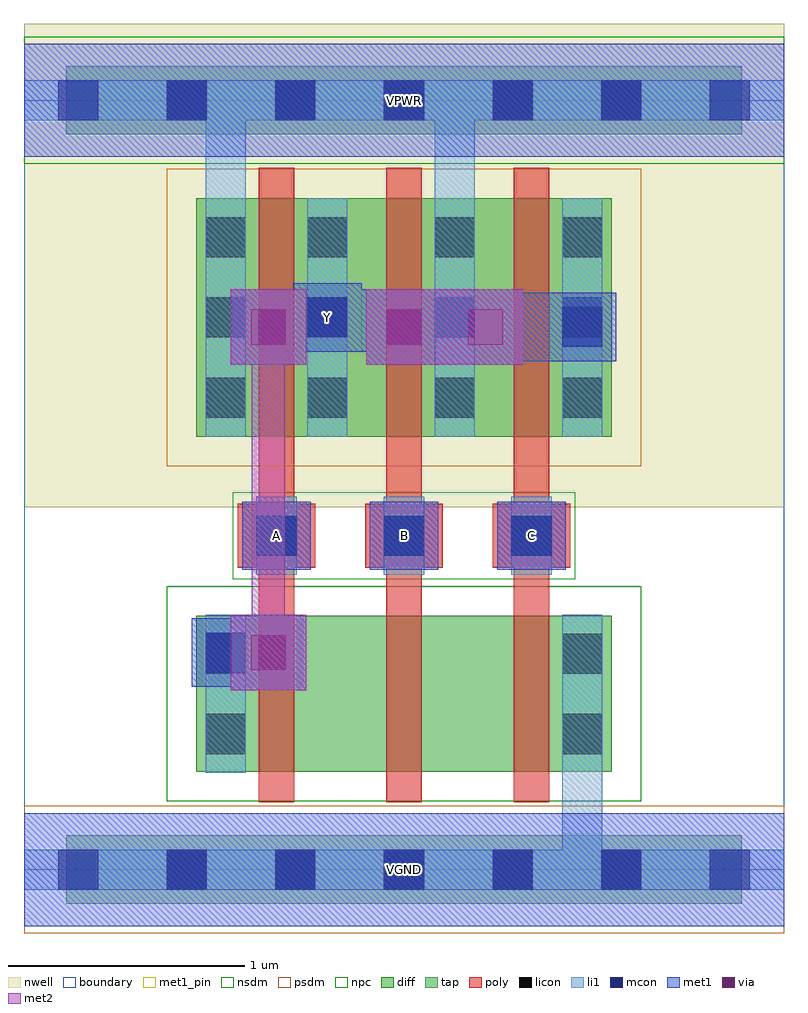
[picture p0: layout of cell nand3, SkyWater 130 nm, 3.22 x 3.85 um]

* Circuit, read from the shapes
.subckt nand3 A B C VGND VPWR Y
XM1 n1 A Y VGND sky130_fd_pr__nfet_01v8 w=0.66 l=0.15
XM2 n2 B n1 VGND sky130_fd_pr__nfet_01v8 w=0.66 l=0.15
XM3 VGND C n2 VGND sky130_fd_pr__nfet_01v8 w=0.66 l=0.15
XM4 Y A VPWR VPWR sky130_fd_pr__pfet_01v8 w=1.01 l=0.15
XM5 VPWR B Y VPWR sky130_fd_pr__pfet_01v8 w=1.01 l=0.15
XM6 Y C VPWR VPWR sky130_fd_pr__pfet_01v8 w=1.01 l=0.15
.ends

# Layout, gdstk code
import gdstk
lib = gdstk.Library(unit=1e-6, precision=1e-09)
def R(c, l, rs):  # rectangles x0, y0, x1, y1
    for r in rs: c.add(gdstk.rectangle(r[:2], r[2:], *l))
def A(c, l, x, y, w, h, nx, ny, dx, dy):  # array of equal rectangles
    R(c, l, [(x+i*dx, y+j*dy, x+i*dx+w, y+j*dy+h) for i in range(nx) for j in range(ny)])
nwell = (64, 20)
diff = (65, 20)
tap = (65, 44)
poly = (66, 20)
licon = (66, 44)
li1 = (67, 20)
mcon = (67, 44)
met1_pin = (68, 16)
met1 = (68, 20)
via = (68, 44)
met2 = (69, 20)
nsdm = (93, 44)
psdm = (94, 20)
npc = (95, 20)
boundary = (235, 4)

nand3 = lib.new_cell('nand3')
R(nand3, nwell, [(0,1.535,3.22,3.585)])
R(nand3, diff, [(0.73,0.415,2.49,1.075), (0.73,1.835,2.49,2.845)])
R(nand3, tap, [(0.18,-0.145,3.04,0.145), (0.18,3.115,3.04,3.405)])
A(nand3, poly, 0.995, 0.285, 0.15, 2.69, 3, 1, 0.54, 0)
A(nand3, poly, 0.905, 1.28, 0.33, 0.27, 3, 1, 0.54, 0)
A(nand3, licon, 0.605, -0.085, 0.17, 0.17, 5, 2, 0.46, 3.26)
A(nand3, licon, 0.985, 1.33, 0.17, 0.17, 3, 1, 0.54, 0)
A(nand3, licon, 0.77, 1.915, 0.17, 0.17, 1, 3, 0, 0.34)
A(nand3, licon, 1.2, 1.915, 0.17, 0.17, 3, 3, 0.54, 0.34)
R(nand3, licon, [(0.77,0.49,0.94,0.66), (2.28,0.49,2.45,0.66), (0.77,0.83,0.94,1), (2.28,0.83,2.45,1)])
A(nand3, li1, 0.985, 1.25, 0.17, 0.33, 3, 1, 0.54, 0)
A(nand3, li1, 1.2, 1.835, 0.17, 1.01, 3, 1, 0.54, 0)
R(nand3, li1, [(0,-0.085,3.22,0.085), (2.28,-0.085,2.45,1.08), (0.77,0.41,0.94,1.08), (2.28,0.41,2.45,1.08), (0.77,1.835,0.94,2.845), (0.77,1.835,0.94,3.345), (1.74,1.835,1.91,3.345), (0,3.175,3.22,3.345)])
A(nand3, mcon, 0.145, -0.085, 0.17, 0.17, 7, 2, 0.46, 3.26)
A(nand3, mcon, 0.985, 1.33, 0.17, 0.17, 3, 1, 0.54, 0)
R(nand3, mcon, [(0.77,0.835,0.94,1.005), (2.28,2.215,2.45,2.385), (1.2,2.255,1.37,2.425)])
A(nand3, met1_pin, 0.925, 1.27, 0.29, 0.29, 3, 1, 0.54, 0)
R(nand3, met1_pin, [(0,-0.24,3.22,0.24), (1.14,2.195,1.43,2.485), (0,3.02,3.22,3.5)])
A(nand3, met1, 0.925, 1.27, 0.29, 0.29, 3, 1, 0.54, 0)
R(nand3, met1, [(0,-0.24,3.22,0.24), (0.875,0.76,1.195,1.08), (0.71,0.775,1,1.065), (0.785,0.85,1.105,0.99), (0.875,2.14,1.195,2.46), (1.45,2.14,1.77,2.46), (1.77,2.14,1.795,2.46), (1.795,2.14,2.115,2.46), (2.115,2.155,2.22,2.445), (2.22,2.155,2.51,2.445), (1.14,2.195,1.43,2.485), (1.43,2.195,1.45,2.46), (0.965,2.23,1.335,2.37), (1.195,2.23,1.335,2.37), (1.195,2.23,1.68,2.37), (1.68,2.23,1.795,2.37), (1.77,2.23,1.885,2.37), (1.885,2.23,2.255,2.37), (2.115,2.23,2.435,2.37), (0,3.02,3.22,3.5)])
R(nand3, via, [(0.96,0.845,1.11,0.995), (0.96,2.225,1.11,2.375), (1.535,2.225,1.685,2.375), (1.88,2.225,2.03,2.375)])
R(nand3, met2, [(0.875,0.76,1.195,1.08), (0.965,0.85,1.105,2.37), (0.875,2.14,1.195,2.46), (1.45,2.14,1.77,2.46), (1.77,2.14,1.795,2.46), (1.795,2.14,2.115,2.46), (1.54,2.23,2.025,2.37)])
R(nand3, nsdm, [(0.605,0.29,2.615,1.2), (0,2.99,3.22,3.53)])
R(nand3, psdm, [(0,-0.27,3.22,0.27), (0.605,1.71,2.615,2.97)])
R(nand3, npc, [(0.885,1.23,2.335,1.6)])
R(nand3, boundary, [(0,0,3.22,3.26)])
nand3.add(gdstk.Label('A', (1.07,1.415), layer=68, texttype=5))
nand3.add(gdstk.Label('B', (1.61,1.415), layer=68, texttype=5))
nand3.add(gdstk.Label('C', (2.15,1.415), layer=68, texttype=5))
nand3.add(gdstk.Label('Y', (1.285,2.34), layer=68, texttype=5))
nand3.add(gdstk.Label('VPWR', (1.61,3.26), layer=68, texttype=5))
nand3.add(gdstk.Label('VGND', (1.61,0), layer=68, texttype=5))
nand3.add(gdstk.Label('A', (1.07,1.415), layer=68, texttype=16))
nand3.add(gdstk.Label('B', (1.61,1.415), layer=68, texttype=16))
nand3.add(gdstk.Label('C', (2.15,1.415), layer=68, texttype=16))
nand3.add(gdstk.Label('Y', (1.285,2.34), layer=68, texttype=16))
nand3.add(gdstk.Label('VPWR', (1.61,3.26), layer=68, texttype=16))
nand3.add(gdstk.Label('VGND', (1.61,0), layer=68, texttype=16))

lib.write_gds('nand3.gds')
